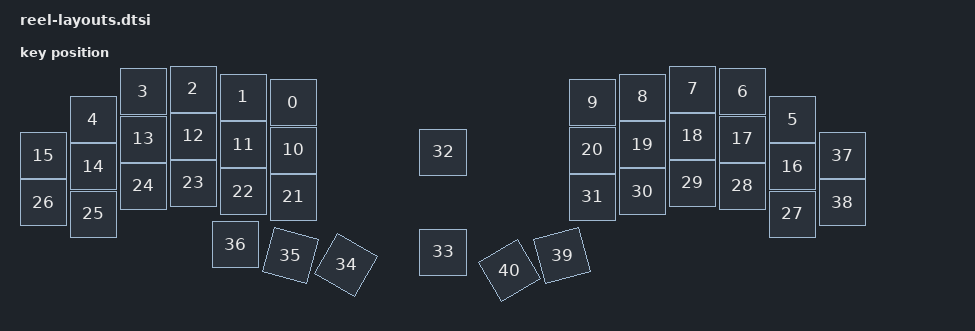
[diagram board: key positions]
// Physical positions from the ReeL Vial layout, in reel_transform order.
#include <physical_layouts.dtsi>

&layout {
    keys =
        <&key_physical_attrs 100 100 508 33 0 558 83>, // 0: RC(0,0)
        <&key_physical_attrs 100 100 408 22 0 458 72>, // 1: RC(0,1)
        <&key_physical_attrs 100 100 308 6 0 358 56>, // 2: RC(0,2)
        <&key_physical_attrs 100 100 208 11 0 258 61>, // 3: RC(0,3)
        <&key_physical_attrs 100 100 108 67 0 158 117>, // 4: RC(0,4)
        <&key_physical_attrs 100 100 1507 67 0 1557 117>, // 5: RC(0,6)
        <&key_physical_attrs 100 100 1407 11 0 1457 61>, // 6: RC(0,7)
        <&key_physical_attrs 100 100 1307 6 0 1357 56>, // 7: RC(0,8)
        <&key_physical_attrs 100 100 1207 22 0 1257 72>, // 8: RC(0,9)
        <&key_physical_attrs 100 100 1107 33 0 1157 83>, // 9: RC(0,10)
        <&key_physical_attrs 100 100 508 128 0 558 178>, // 10: RC(1,0)
        <&key_physical_attrs 100 100 408 117 0 458 167>, // 11: RC(1,1)
        <&key_physical_attrs 100 100 308 100 0 358 150>, // 12: RC(1,2)
        <&key_physical_attrs 100 100 208 106 0 258 156>, // 13: RC(1,3)
        <&key_physical_attrs 100 100 108 161 0 158 211>, // 14: RC(1,4)
        <&key_physical_attrs 100 100 8 139 0 58 189>, // 15: RC(1,5)
        <&key_physical_attrs 100 100 1507 161 0 1557 211>, // 16: RC(1,6)
        <&key_physical_attrs 100 100 1407 106 0 1457 156>, // 17: RC(1,7)
        <&key_physical_attrs 100 100 1307 100 0 1357 150>, // 18: RC(1,8)
        <&key_physical_attrs 100 100 1207 117 0 1257 167>, // 19: RC(1,9)
        <&key_physical_attrs 100 100 1107 128 0 1157 178>, // 20: RC(1,10)
        <&key_physical_attrs 100 100 508 222 0 558 272>, // 21: RC(2,0)
        <&key_physical_attrs 100 100 408 211 0 458 261>, // 22: RC(2,1)
        <&key_physical_attrs 100 100 308 194 0 358 244>, // 23: RC(2,2)
        <&key_physical_attrs 100 100 208 200 0 258 250>, // 24: RC(2,3)
        <&key_physical_attrs 100 100 108 256 0 158 306>, // 25: RC(2,4)
        <&key_physical_attrs 100 100 8 233 0 58 283>, // 26: RC(2,5)
        <&key_physical_attrs 100 100 1507 256 0 1557 306>, // 27: RC(2,6)
        <&key_physical_attrs 100 100 1407 200 0 1457 250>, // 28: RC(2,7)
        <&key_physical_attrs 100 100 1307 194 0 1357 244>, // 29: RC(2,8)
        <&key_physical_attrs 100 100 1207 211 0 1257 261>, // 30: RC(2,9)
        <&key_physical_attrs 100 100 1107 222 0 1157 272>, // 31: RC(2,10)
        <&key_physical_attrs 100 100 808 132 0 858 182>, // 32: RC(3,0)
        <&key_physical_attrs 100 100 808 332 0 858 382>, // 33: RC(3,1)
        <&key_physical_attrs 100 100 614 358 3000 664 408>, // 34: RC(3,2)
        <&key_physical_attrs 100 100 503 339 1500 553 389>, // 35: RC(3,3)
        <&key_physical_attrs 100 100 392 317 0 442 367>, // 36: RC(3,4)
        <&key_physical_attrs 100 100 1607 139 0 1657 189>, // 37: RC(3,6)
        <&key_physical_attrs 100 100 1607 233 0 1657 283>, // 38: RC(3,7)
        <&key_physical_attrs 100 100 1046 339 (-1500) 1096 389>, // 39: RC(3,8)
        <&key_physical_attrs 100 100 941 369 (-3000) 991 419>; // 40: RC(3,9)
};
